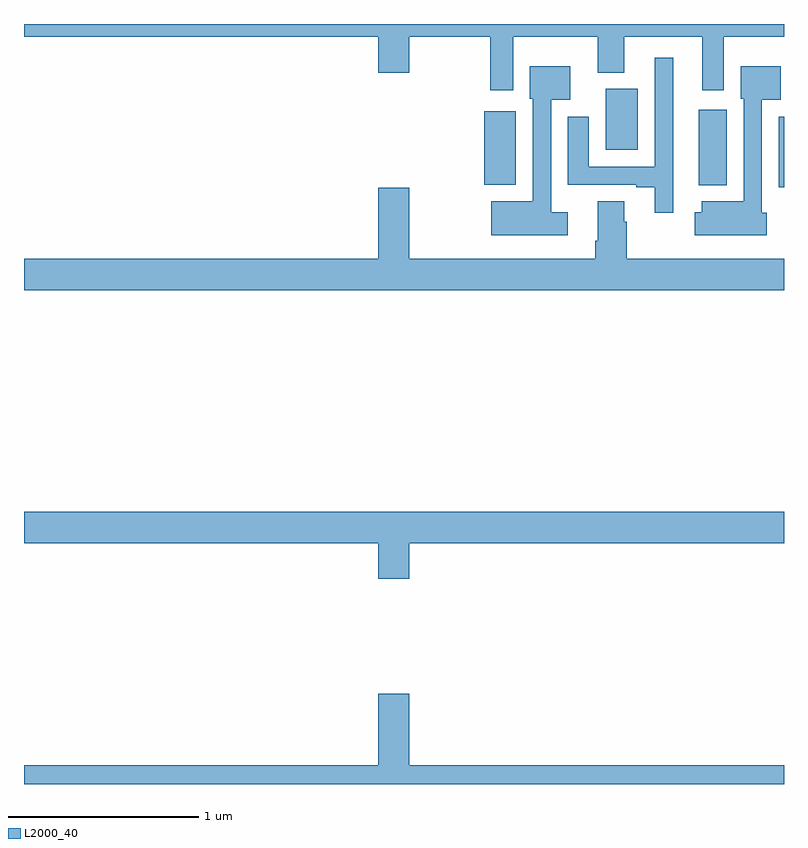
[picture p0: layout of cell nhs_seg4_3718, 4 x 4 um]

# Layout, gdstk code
import gdstk
lib = gdstk.Library(unit=1e-6, precision=1e-09)
def R(c, l, rs):  # rectangles x0, y0, x1, y1
    for r in rs: c.add(gdstk.rectangle(r[:2], r[2:], *l))
def P(c, l, *ps):  # polygons
    for p in ps: c.add(gdstk.Polygon(p, *l))
L2000_40 = (2000, 40)

nhs_seg4_3718 = lib.new_cell('nhs_seg4_3718')
R(nhs_seg4_3718, L2000_40, [(310.973,784.041,311,784.411), (310.55,784.052,310.699,784.45), (309.422,784.055,309.589,784.441), (310.061,784.238,310.231,784.558)])
P(nhs_seg4_3718, L2000_40, [(309.574,784.832),(310.019,784.832),(310.019,784.643),(310.159,784.643),(310.159,784.832),(310.571,784.832),(310.571,784.551),(310.684,784.551),(310.684,784.832),(311,784.832),(311,784.9),(307,784.9),(307,784.832),(308.864,784.832),(308.864,784.644),(309.028,784.644),(309.028,784.832),(309.454,784.832),(309.454,784.551),(309.574,784.551)],
  [(310.417,784.723),(310.32,784.723),(310.32,784.149),(309.973,784.149),(309.973,784.411),(309.863,784.411),(309.863,784.053),(310.223,784.053),(310.223,784.041),(310.319,784.041),(310.319,783.906),(310.417,783.906)],
  [(310.909,783.906),(310.884,783.906),(310.884,784.502),(310.984,784.502),(310.984,784.678),(310.772,784.678),(310.772,784.506),(310.788,784.506),(310.788,783.967),(310.568,783.967),(310.568,783.91),(310.529,783.91),(310.529,783.788),(310.909,783.788)],
  [(309.862,783.91),(309.774,783.91),(309.774,784.502),(309.874,784.502),(309.874,784.678),(309.662,784.678),(309.662,784.506),(309.678,784.506),(309.678,783.966),(309.458,783.966),(309.458,783.788),(309.862,783.788)],
  [(311,783.664),(310.172,783.664),(310.172,783.86),(310.159,783.86),(310.159,783.968),(310.019,783.968),(310.019,783.76),(310.007,783.76),(310.007,783.664),(309.028,783.664),(309.028,784.039),(308.864,784.039),(308.864,783.664),(307,783.664),(307,783.5),(311,783.5)],
  [(309.028,782.168),(311,782.168),(311,782.332),(307,782.332),(307,782.168),(308.864,782.168),(308.864,781.98),(309.028,781.98)],
  [(311,781),(309.028,781),(309.028,781.375),(308.864,781.375),(308.864,781),(307,781),(307,780.9),(311,780.9)])

lib.write_gds('nhs_seg4_3718.gds')
